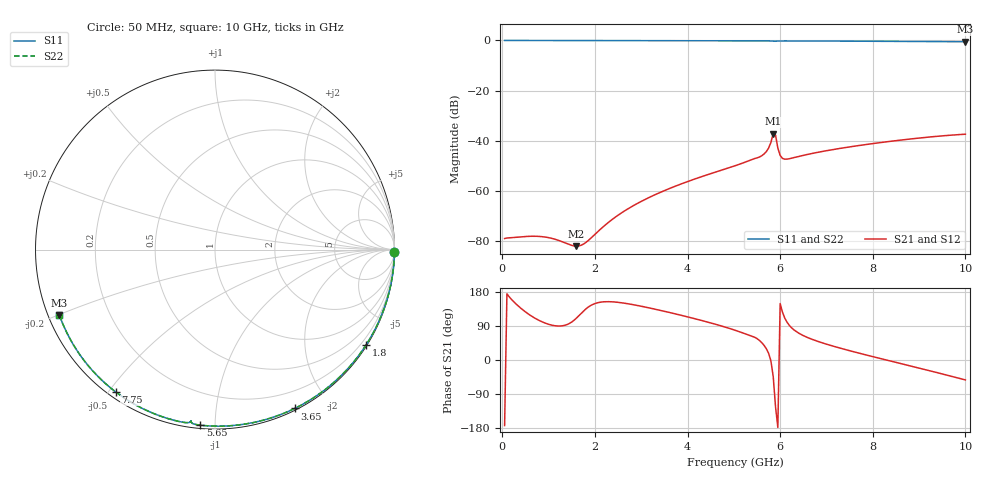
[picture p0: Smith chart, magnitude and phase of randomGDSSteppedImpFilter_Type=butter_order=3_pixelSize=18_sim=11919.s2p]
! freq	dB(S11)	phase(S11)	dB(S12)	phase(S12)
!  dB(S21)	phase(S21)	dB(S22)	phase(S22)
!S-par simulation data
#  GHz  S  DB  R 50
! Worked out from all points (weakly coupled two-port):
!   200 points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, 50 MHz to 10 GHz, reference 50 ohm
!   highest |S21| = -37.19 dB at 5.85 GHz (marker M1); lowest = -82.1 dB at 1.6 GHz (marker M2)
!   lowest |S11| = -0.5 dB at 10 GHz (marker M3), VSWR 32.73, Z = 1.59 - j10.1 ohm
!   |S11| at or under -10 dB: nowhere
!   |S22| runs from -0.5 to 0.0 dB; largest |S21 - S12| = 0
!   S11 on the Smith chart (normalised r, x): 50 MHz: open; 1.8 GHz: 0.03, -3.48; 3.65 GHz: 0.02, -1.62; 5.65 GHz: 0.02, -0.92; 7.75 GHz: 0.02, -0.52; 10 GHz: 0.03, -0.20
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0.05  -0.00 -0.9  -79.06 -172.9  -79.06 -172.9  -0.00 -0.9
0.75  -0.01 -13.5  -78.18 107.2  -78.18 107.2  -0.01 -13.5
1.25  -0.03 -22.4  -80.03 89.7  -80.03 89.7  -0.03 -22.4
1.6  -0.04 -28.6  -82.11 110.4  -82.11 110.4  -0.04 -28.6
1.75  -0.04 -31.2  -81.31 128.7  -81.31 128.7  -0.04 -31.2
1.8  -0.04 -32.1  -80.69 134.3  -80.69 134.3  -0.04 -32.1
1.85  -0.04 -33.0  -79.96 139.1  -79.96 139.1  -0.04 -33.0
2.6  -0.06 -45.9  -68.51 150.6  -68.51 150.6  -0.06 -45.9
3.4  -0.08 -59.3  -60.73 131.3  -60.73 131.3  -0.08 -59.3
3.65  -0.09 -63.4  -58.80 124.2  -58.80 124.2  -0.09 -63.4
5.05  -0.13 -85.5  -49.87 77.6  -49.87 77.6  -0.13 -85.5
5.65  -0.16 -94.7  -45.36 39.1  -45.36 39.1  -0.16 -94.7
5.75  -0.17 -96.4  -42.97 17.9  -42.97 17.9  -0.17 -96.4
5.85  -0.28 -98.1  -37.19 -43.3  -37.19 -43.3  -0.28 -98.1
5.9  -0.31 -97.9  -37.71 -123.3  -37.71 -123.3  -0.31 -97.9
5.95  -0.22 -98.5  -42.94 -178.0  -42.94 -178.0  -0.22 -98.5
6  -0.20 -99.4  -45.91 148.9  -45.91 148.9  -0.20 -99.4
6.05  -0.19 -100.2  -47.07 126.2  -47.07 126.2  -0.19 -100.2
6.7  -0.22 -109.9  -45.06 54.1  -45.06 54.1  -0.22 -109.9
7.75  -0.29 -125.0  -41.80 16.6  -41.80 16.6  -0.29 -125.0
8.35  -0.35 -133.5  -40.33 -1.7  -40.33 -1.7  -0.35 -133.5
10  -0.53 -157.1  -37.42 -52.6  -37.42 -52.6  -0.53 -157.1
